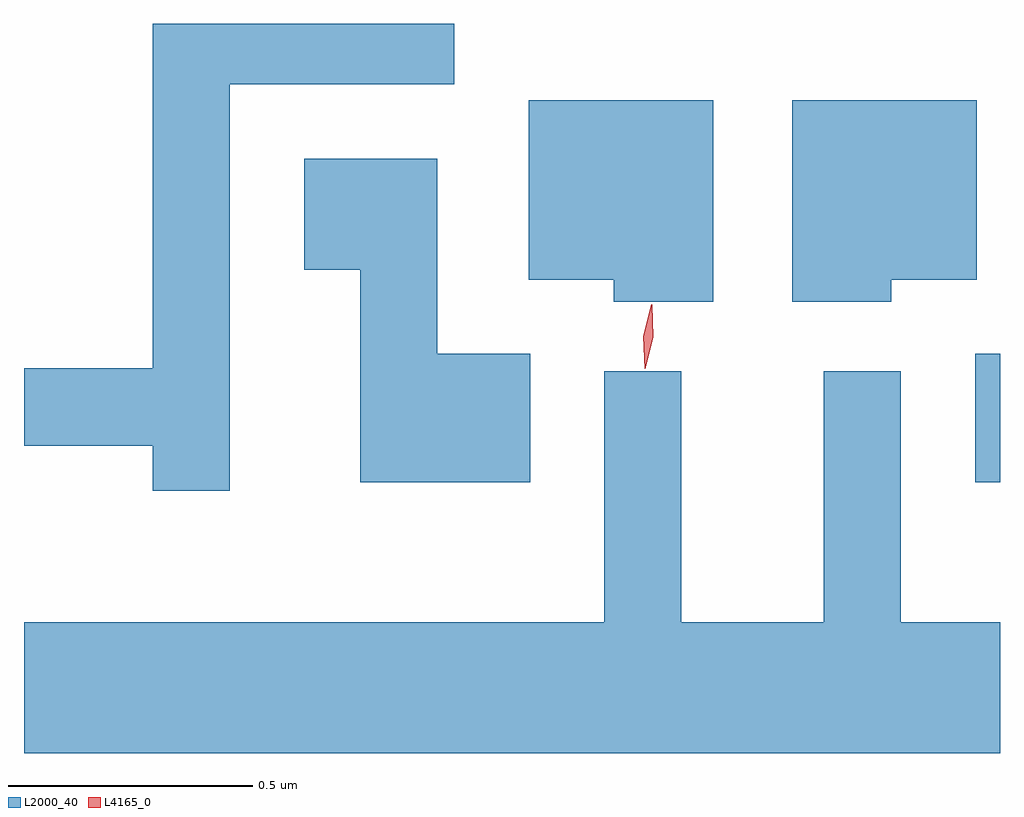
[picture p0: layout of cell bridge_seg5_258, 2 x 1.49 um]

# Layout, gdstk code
import gdstk
lib = gdstk.Library(unit=1e-6, precision=1e-09)
def R(c, l, rs):  # rectangles x0, y0, x1, y1
    for r in rs: c.add(gdstk.rectangle(r[:2], r[2:], *l))
def P(c, l, *ps):  # polygons
    for p in ps: c.add(gdstk.Polygon(p, *l))
L2000_40 = (2000, 40)
L4165_0 = (4165, 0)

bridge_seg5_258 = lib.new_cell('bridge_seg5_258')
R(bridge_seg5_258, L2000_40, [(1330.846,1437.371,1330.897,1437.634)])
P(bridge_seg5_258, L2000_40, [(1329.319,1438.186),(1329.779,1438.186),(1329.779,1438.31),(1329.161,1438.31),(1329.161,1437.604),(1328.897,1437.604),(1328.897,1437.446),(1329.161,1437.446),(1329.161,1437.353),(1329.319,1437.353)],
  [(1330.674,1437.786),(1330.849,1437.786),(1330.849,1438.154),(1330.471,1438.154),(1330.471,1437.741),(1330.674,1437.741)],
  [(1330.309,1438.154),(1329.931,1438.154),(1329.931,1437.786),(1330.106,1437.786),(1330.106,1437.741),(1330.309,1437.741)],
  [(1329.934,1437.634),(1329.744,1437.634),(1329.744,1438.034),(1329.471,1438.034),(1329.471,1437.806),(1329.586,1437.806),(1329.586,1437.371),(1329.934,1437.371)],
  [(1330.897,1437.084),(1330.694,1437.084),(1330.694,1437.598),(1330.536,1437.598),(1330.536,1437.084),(1330.244,1437.084),(1330.244,1437.598),(1330.086,1437.598),(1330.086,1437.084),(1328.897,1437.084),(1328.897,1436.816),(1330.897,1436.816)])
P(bridge_seg5_258, L4165_0, [(1330.169,1437.603),(1330.166,1437.67),(1330.182,1437.735),(1330.183,1437.736),(1330.184,1437.735),(1330.186,1437.668),(1330.17,1437.603),(1330.17,1437.603)])

lib.write_gds('bridge_seg5_258.gds')
